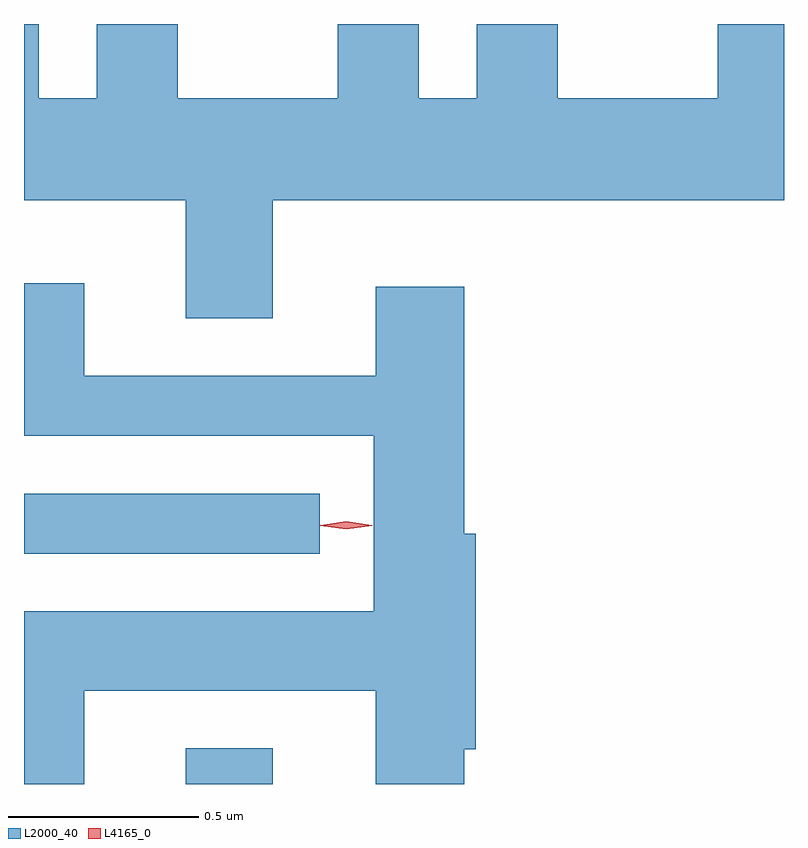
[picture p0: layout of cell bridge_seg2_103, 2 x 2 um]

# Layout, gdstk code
import gdstk
lib = gdstk.Library(unit=1e-6, precision=1e-09)
def R(c, l, rs):  # rectangles x0, y0, x1, y1
    for r in rs: c.add(gdstk.rectangle(r[:2], r[2:], *l))
def P(c, l, *ps):  # polygons
    for p in ps: c.add(gdstk.Polygon(p, *l))
L2000_40 = (2000, 40)
L4165_0 = (4165, 0)

bridge_seg2_103 = lib.new_cell('bridge_seg2_103')
R(bridge_seg2_103, L2000_40, [(1277.771,1000.16,1277.999,1000.254), (1277.345,1000.766,1278.123,1000.924)])
P(bridge_seg2_103, L2000_40, [(1277.999,1001.696),(1279.345,1001.696),(1279.345,1002.16),(1279.171,1002.16),(1279.171,1001.964),(1278.749,1001.964),(1278.749,1002.16),(1278.536,1002.16),(1278.536,1001.964),(1278.384,1001.964),(1278.384,1002.16),(1278.171,1002.16),(1278.171,1001.964),(1277.749,1001.964),(1277.749,1002.16),(1277.536,1002.16),(1277.536,1001.964),(1277.384,1001.964),(1277.384,1002.16),(1277.345,1002.16),(1277.345,1001.696),(1277.771,1001.696),(1277.771,1001.386),(1277.999,1001.386)],
  [(1277.504,1000.406),(1278.271,1000.406),(1278.271,1000.16),(1278.504,1000.16),(1278.504,1000.251),(1278.534,1000.251),(1278.534,1000.819),(1278.504,1000.819),(1278.504,1001.469),(1278.271,1001.469),(1278.271,1001.234),(1277.504,1001.234),(1277.504,1001.478),(1277.346,1001.478),(1277.346,1001.076),(1278.266,1001.076),(1278.266,1000.614),(1277.346,1000.614),(1277.346,1000.16),(1277.504,1000.16)])
P(bridge_seg2_103, L4165_0, [(1278.193,1000.831),(1278.124,1000.84),(1278.123,1000.841),(1278.124,1000.841),(1278.193,1000.851),(1278.262,1000.841),(1278.262,1000.841),(1278.262,1000.84)],
  [(1278.193,1000.831),(1278.128,1000.84),(1278.127,1000.841),(1278.128,1000.841),(1278.193,1000.851),(1278.258,1000.841),(1278.259,1000.841),(1278.258,1000.84)])

lib.write_gds('bridge_seg2_103.gds')
